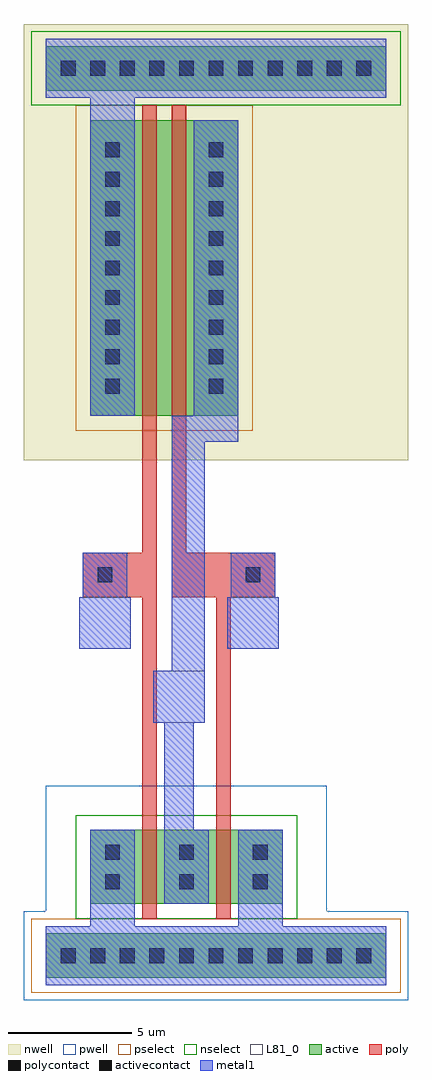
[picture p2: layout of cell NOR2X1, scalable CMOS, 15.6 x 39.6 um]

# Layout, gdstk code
import gdstk
lib = gdstk.Library(unit=1e-6, precision=1e-09)
def R(c, l, rs):  # rectangles x0, y0, x1, y1
    for r in rs: c.add(gdstk.rectangle(r[:2], r[2:], *l))
def A(c, l, x, y, w, h, nx, ny, dx, dy):  # array of equal rectangles
    R(c, l, [(x+i*dx, y+j*dy, x+i*dx+w, y+j*dy+h) for i in range(nx) for j in range(ny)])
pwell = (41, 0)
nwell = (42, 0)
active = (43, 0)
pselect = (44, 0)
nselect = (45, 0)
poly = (46, 0)
polycontact = (47, 0)
activecontact = (48, 0)
metal1 = (49, 0)
L81_0 = (81, 0)

nor2x1 = lib.new_cell('NOR2X1')
R(nor2x1, pwell, [(-1.8,-1.8,13.8,1.8), (-0.9,1.8,10.5,6.9)])
R(nor2x1, nwell, [(-1.8,20.1,13.8,37.8)])
R(nor2x1, active, [(-0.9,-0.9,12.9,0.9), (0.9,2.1,8.7,5.1), (0.9,21.9,6.9,33.9), (-0.9,35.1,12.9,36.9)])
R(nor2x1, pselect, [(-1.5,-1.5,13.5,1.5), (0.3,21.3,7.5,34.5)])
R(nor2x1, nselect, [(0.3,1.5,9.3,5.7), (-1.5,34.5,13.5,37.5)])
R(nor2x1, poly, [(3,1.5,3.6,14.55), (6,1.5,6.6,14.55), (0.6,14.55,3.6,16.35), (4.2,14.55,8.4,16.35), (3,16.35,3.6,34.5), (4.2,16.35,4.8,34.5)])
R(nor2x1, polycontact, [(1.2,15.15,1.8,15.75), (7.2,15.15,7.8,15.75)])
A(nor2x1, activecontact, -0.3, -0.3, 0.6, 0.6, 11, 2, 1.2, 36)
A(nor2x1, activecontact, 1.5, 2.7, 0.6, 0.6, 3, 2, 3, 1.2)
A(nor2x1, activecontact, 1.5, 22.8, 0.6, 0.6, 1, 9, 0, 1.2)
A(nor2x1, activecontact, 5.7, 22.8, 0.6, 0.6, 1, 9, 0, 1.2)
R(nor2x1, metal1, [(-0.9,-1.2,12.9,1.2), (0.9,1.2,2.7,5.1), (6.9,1.2,8.7,5.1), (3.9,2.1,5.7,5.1), (3.9,5.1,5.1,9.45), (3.45,9.45,5.55,11.55), (4.2,11.55,5.55,20.85), (0.45,12.45,2.55,14.55), (6.45,12.45,8.55,14.55), (0.6,14.55,2.4,16.35), (6.6,14.55,8.4,16.35), (4.2,20.85,6.9,21.9), (0.9,21.9,2.7,34.8), (5.1,21.9,6.9,33.9), (-0.9,34.8,12.9,37.2)])
R(nor2x1, L81_0, [(3.45,9.45,5.55,11.55), (0.45,12.45,2.55,14.55), (6.45,12.45,8.55,14.55)])

lib.write_gds('NOR2X1.gds')
